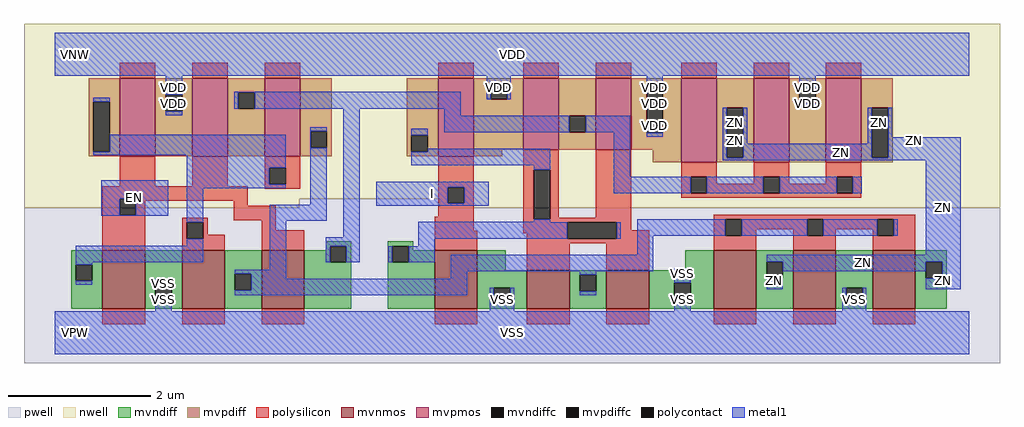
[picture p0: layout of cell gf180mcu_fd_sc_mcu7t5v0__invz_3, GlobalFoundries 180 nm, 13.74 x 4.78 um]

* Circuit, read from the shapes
.subckt gf180mcu_fd_sc_mcu7t5v0__invz_3 EN I ZN VDD VNW VPW VSS
XM1 VSS EN n1 VPW nfet_06v0 w=0.82u l=0.6u
XM2 n2 n1 VSS VPW nfet_06v0 w=0.82u l=0.6u
XM3 n3 EN n2 VPW nfet_06v0 w=0.82u l=0.6u
XM4 VSS I n4 VPW nfet_06v0 w=0.82u l=0.6u
XM5 n2 n4 VSS VPW nfet_06v0 w=0.54u l=0.6u m=2
XM6 ZN n2 VSS VPW nfet_06v0 w=0.82u l=0.6u m=3
XM7 VDD EN n1 VNW pfet_06v0 w=1.095u l=0.5u
XM8 n3 EN VDD VNW pfet_06v0 w=1.095u l=0.5u
XM9 n2 n1 n3 VNW pfet_06v0 w=1.095u l=0.5u
XM10 VDD I n4 VNW pfet_06v0 w=1.095u l=0.5u
XM11 n3 n4 VDD VNW pfet_06v0 w=1.005u l=0.5u m=2
XM12 ZN n3 VDD VNW pfet_06v0 w=1.18u l=0.5u m=3
.ends

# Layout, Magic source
magic
tech gf180mcuD
magscale 1 10
<< nwell >>
rect -86 377 2662 870
rect -86 352 689 377
rect 1084 352 2662 377
<< pwell >>
rect 689 352 1084 377
rect -86 -86 2662 352
<< mvnmos >>
rect 135 68 255 232
rect 359 68 479 232
rect 583 68 703 232
rect 1070 68 1190 232
rect 1330 68 1450 176
rect 1554 68 1674 176
rect 1856 68 1976 232
rect 2080 68 2200 232
rect 2304 68 2424 232
<< mvpmos >>
rect 184 497 284 716
rect 388 497 488 716
rect 592 497 692 716
rect 1080 497 1180 716
rect 1320 515 1420 716
rect 1524 515 1624 716
rect 1764 480 1864 716
rect 1968 480 2068 716
rect 2172 480 2272 716
<< mvndiff >>
rect 763 244 835 257
rect 763 232 776 244
rect 47 192 135 232
rect 47 146 60 192
rect 106 146 135 192
rect 47 68 135 146
rect 255 139 359 232
rect 255 93 284 139
rect 330 93 359 139
rect 255 68 359 93
rect 479 166 583 232
rect 479 120 508 166
rect 554 120 583 166
rect 479 68 583 120
rect 703 198 776 232
rect 822 198 835 244
rect 703 68 835 198
rect 938 244 1010 257
rect 938 198 951 244
rect 997 232 1010 244
rect 997 198 1070 232
rect 938 68 1070 198
rect 1190 176 1270 232
rect 1776 176 1856 232
rect 1190 127 1330 176
rect 1190 81 1237 127
rect 1283 81 1330 127
rect 1190 68 1330 81
rect 1450 163 1554 176
rect 1450 117 1479 163
rect 1525 117 1554 163
rect 1450 68 1554 117
rect 1674 141 1856 176
rect 1674 95 1745 141
rect 1791 95 1856 141
rect 1674 68 1856 95
rect 1976 200 2080 232
rect 1976 154 2005 200
rect 2051 154 2080 200
rect 1976 68 2080 154
rect 2200 127 2304 232
rect 2200 81 2229 127
rect 2275 81 2304 127
rect 2200 68 2304 81
rect 2424 200 2512 232
rect 2424 154 2453 200
rect 2499 154 2512 200
rect 2424 68 2512 154
<< mvpdiff >>
rect 96 650 184 716
rect 96 510 109 650
rect 155 510 184 650
rect 96 497 184 510
rect 284 670 388 716
rect 284 624 313 670
rect 359 624 388 670
rect 284 497 388 624
rect 488 677 592 716
rect 488 631 517 677
rect 563 631 592 677
rect 488 497 592 631
rect 692 567 780 716
rect 692 521 721 567
rect 767 521 780 567
rect 692 497 780 521
rect 992 556 1080 716
rect 992 510 1005 556
rect 1051 510 1080 556
rect 992 497 1080 510
rect 1180 703 1320 716
rect 1180 657 1228 703
rect 1274 657 1320 703
rect 1180 515 1320 657
rect 1420 611 1524 716
rect 1420 565 1449 611
rect 1495 565 1524 611
rect 1420 515 1524 565
rect 1624 703 1764 716
rect 1624 563 1667 703
rect 1713 563 1764 703
rect 1624 515 1764 563
rect 1180 497 1260 515
rect 1684 480 1764 515
rect 1864 633 1968 716
rect 1864 493 1893 633
rect 1939 493 1968 633
rect 1864 480 1968 493
rect 2068 690 2172 716
rect 2068 644 2097 690
rect 2143 644 2172 690
rect 2068 480 2172 644
rect 2272 633 2360 716
rect 2272 493 2301 633
rect 2347 493 2360 633
rect 2272 480 2360 493
<< mvndiffc >>
rect 60 146 106 192
rect 284 93 330 139
rect 508 120 554 166
rect 776 198 822 244
rect 951 198 997 244
rect 1237 81 1283 127
rect 1479 117 1525 163
rect 1745 95 1791 141
rect 2005 154 2051 200
rect 2229 81 2275 127
rect 2453 154 2499 200
<< mvpdiffc >>
rect 109 510 155 650
rect 313 624 359 670
rect 517 631 563 677
rect 721 521 767 567
rect 1005 510 1051 556
rect 1228 657 1274 703
rect 1449 565 1495 611
rect 1667 563 1713 703
rect 1893 493 1939 633
rect 2097 644 2143 690
rect 2301 493 2347 633
<< polysilicon >>
rect 184 716 284 760
rect 388 716 488 760
rect 592 716 692 760
rect 1080 716 1180 760
rect 1320 716 1420 760
rect 1524 716 1624 760
rect 1764 716 1864 760
rect 1968 716 2068 760
rect 2172 716 2272 760
rect 184 412 284 497
rect 388 412 488 497
rect 592 464 692 497
rect 592 418 605 464
rect 651 418 692 464
rect 135 377 544 412
rect 592 405 692 418
rect 1080 410 1180 497
rect 135 331 183 377
rect 229 372 544 377
rect 229 331 255 372
rect 135 232 255 331
rect 504 357 544 372
rect 1080 364 1107 410
rect 1153 364 1180 410
rect 359 311 431 324
rect 504 317 623 357
rect 1080 326 1180 364
rect 359 265 372 311
rect 418 276 431 311
rect 583 288 623 317
rect 418 265 479 276
rect 359 232 479 265
rect 583 232 703 288
rect 1070 287 1180 326
rect 1320 459 1420 515
rect 1320 319 1349 459
rect 1395 324 1420 459
rect 1524 324 1624 515
rect 1764 439 1864 480
rect 1764 393 1791 439
rect 1837 420 1864 439
rect 1968 439 2068 480
rect 1968 420 1996 439
rect 1837 393 1996 420
rect 2042 420 2068 439
rect 2172 439 2272 480
rect 2172 420 2202 439
rect 2042 393 2202 420
rect 2248 393 2272 439
rect 1764 380 2272 393
rect 1395 319 1624 324
rect 1320 311 1624 319
rect 1070 232 1190 287
rect 1320 280 1443 311
rect 1330 265 1443 280
rect 1583 288 1624 311
rect 1856 319 2424 332
rect 1583 265 1674 288
rect 1330 252 1674 265
rect 1330 176 1450 252
rect 1554 176 1674 252
rect 1856 273 1889 319
rect 1935 292 2119 319
rect 1935 273 1976 292
rect 1856 232 1976 273
rect 2080 273 2119 292
rect 2165 292 2317 319
rect 2165 273 2200 292
rect 2080 232 2200 273
rect 2304 273 2317 292
rect 2363 273 2424 319
rect 2304 232 2424 273
rect 135 24 255 68
rect 359 24 479 68
rect 583 24 703 68
rect 1070 24 1190 68
rect 1330 24 1450 68
rect 1554 24 1674 68
rect 1856 24 1976 68
rect 2080 24 2200 68
rect 2304 24 2424 68
<< polycontact >>
rect 605 418 651 464
rect 183 331 229 377
rect 1107 364 1153 410
rect 372 265 418 311
rect 1349 319 1395 459
rect 1791 393 1837 439
rect 1996 393 2042 439
rect 2202 393 2248 439
rect 1443 265 1583 311
rect 1889 273 1935 319
rect 2119 273 2165 319
rect 2317 273 2363 319
<< metal1 >>
rect 0 724 2576 844
rect 313 670 359 724
rect 1217 703 1285 724
rect 109 650 155 661
rect 506 677 1143 678
rect 506 631 517 677
rect 563 631 1143 677
rect 1217 657 1228 703
rect 1274 657 1285 703
rect 1667 703 1713 724
rect 313 613 359 624
rect 720 567 767 578
rect 155 510 651 558
rect 109 499 651 510
rect 372 464 651 499
rect 132 377 320 430
rect 132 331 183 377
rect 229 331 320 377
rect 132 330 320 331
rect 372 418 605 464
rect 372 407 651 418
rect 720 521 721 567
rect 372 311 418 407
rect 720 361 767 521
rect 372 245 418 265
rect 60 198 418 245
rect 606 315 767 361
rect 60 192 106 198
rect 606 177 652 315
rect 813 269 859 631
rect 1097 611 1143 631
rect 1005 556 1051 574
rect 1097 565 1449 611
rect 1495 565 1621 611
rect 1051 510 1395 518
rect 1005 471 1395 510
rect 1349 459 1395 471
rect 906 410 1222 425
rect 906 364 1107 410
rect 1153 364 1222 410
rect 906 358 1222 364
rect 1575 439 1621 565
rect 2097 690 2143 724
rect 2097 633 2143 644
rect 1667 552 1713 563
rect 1882 493 1893 633
rect 1939 532 1950 633
rect 2290 532 2301 633
rect 1939 493 2301 532
rect 2347 550 2358 633
rect 2347 493 2552 550
rect 1882 485 2552 493
rect 1575 393 1791 439
rect 1837 393 1996 439
rect 2042 393 2202 439
rect 2248 393 2273 439
rect 1575 392 2273 393
rect 1349 312 1395 319
rect 763 244 859 269
rect 1024 311 1395 312
rect 1024 265 1443 311
rect 1583 265 1594 311
rect 1640 273 1889 319
rect 1935 273 2119 319
rect 2165 273 2317 319
rect 2363 273 2374 319
rect 1024 244 1070 265
rect 763 198 776 244
rect 822 198 859 244
rect 940 198 951 244
rect 997 198 1070 244
rect 1640 219 1686 273
rect 2453 220 2552 485
rect 508 166 652 177
rect 60 135 106 146
rect 284 139 330 152
rect 554 152 652 166
rect 1116 173 1686 219
rect 2005 200 2552 220
rect 1116 152 1162 173
rect 554 120 1162 152
rect 1479 163 1525 173
rect 508 106 1162 120
rect 284 60 330 93
rect 1226 81 1237 127
rect 1283 81 1294 127
rect 1479 106 1525 117
rect 1745 141 1791 180
rect 1226 60 1294 81
rect 2051 173 2453 200
rect 2005 123 2051 154
rect 2499 154 2552 200
rect 1745 60 1791 95
rect 2218 81 2229 127
rect 2275 81 2286 127
rect 2453 122 2552 154
rect 2218 60 2286 81
rect 0 -60 2576 60
<< labels >>
flabel metal1 s 0 724 2576 844 0 FreeSans 400 0 0 0 VDD
port 4 nsew power bidirectional abutment
flabel metal1 s 1745 152 1791 180 0 FreeSans 400 0 0 0 VSS
port 7 nsew ground bidirectional abutment
flabel metal1 s 2290 550 2358 633 0 FreeSans 400 0 0 0 ZN
port 3 nsew default output
flabel metal1 s 132 330 320 430 0 FreeSans 400 0 0 0 EN
port 1 nsew default input
flabel metal1 s 906 358 1222 425 0 FreeSans 400 0 0 0 I
port 2 nsew default input
flabel nwell s 10 734 110 834 0 FreeSans 400 0 0 0 VNW
port 5 nsew power bidirectional
flabel pwell s 10 -50 110 50 0 FreeSans 400 0 0 0 VPW
port 6 nsew ground bidirectional
rlabel metal1 s 1882 550 1950 633 1 ZN
port 3 nsew default output
rlabel metal1 s 2290 532 2552 550 1 ZN
port 3 nsew default output
rlabel metal1 s 1882 532 1950 550 1 ZN
port 3 nsew default output
rlabel metal1 s 1882 485 2552 532 1 ZN
port 3 nsew default output
rlabel metal1 s 2453 220 2552 485 1 ZN
port 3 nsew default output
rlabel metal1 s 2005 173 2552 220 1 ZN
port 3 nsew default output
rlabel metal1 s 2453 123 2552 173 1 ZN
port 3 nsew default output
rlabel metal1 s 2005 123 2051 173 1 ZN
port 3 nsew default output
rlabel metal1 s 2453 122 2552 123 1 ZN
port 3 nsew default output
rlabel metal1 s 2097 657 2143 724 1 VDD
port 4 nsew power bidirectional abutment
rlabel metal1 s 1667 657 1713 724 1 VDD
port 4 nsew power bidirectional abutment
rlabel metal1 s 1217 657 1285 724 1 VDD
port 4 nsew power bidirectional abutment
rlabel metal1 s 313 657 359 724 1 VDD
port 4 nsew power bidirectional abutment
rlabel metal1 s 2097 633 2143 657 1 VDD
port 4 nsew power bidirectional abutment
rlabel metal1 s 1667 633 1713 657 1 VDD
port 4 nsew power bidirectional abutment
rlabel metal1 s 313 633 359 657 1 VDD
port 4 nsew power bidirectional abutment
rlabel metal1 s 1667 613 1713 633 1 VDD
port 4 nsew power bidirectional abutment
rlabel metal1 s 313 613 359 633 1 VDD
port 4 nsew power bidirectional abutment
rlabel metal1 s 1667 552 1713 613 1 VDD
port 4 nsew power bidirectional abutment
rlabel metal1 s 1745 127 1791 152 1 VSS
port 7 nsew ground bidirectional abutment
rlabel metal1 s 284 127 330 152 1 VSS
port 7 nsew ground bidirectional abutment
rlabel metal1 s 2218 60 2286 127 1 VSS
port 7 nsew ground bidirectional abutment
rlabel metal1 s 1745 60 1791 127 1 VSS
port 7 nsew ground bidirectional abutment
rlabel metal1 s 1226 60 1294 127 1 VSS
port 7 nsew ground bidirectional abutment
rlabel metal1 s 284 60 330 127 1 VSS
port 7 nsew ground bidirectional abutment
rlabel metal1 s 0 -60 2576 60 1 VSS
port 7 nsew ground bidirectional abutment
<< properties >>
string FIXED_BBOX 0 0 2576 784
string GDS_END 534198
string GDS_FILE $PDKPATH/libs.ref/gf180mcu_fd_sc_mcu7t5v0/gds/gf180mcu_fd_sc_mcu7t5v0.gds
string GDS_START 527684
string LEFclass core
string LEFsite GF018hv5v_mcu_sc7
string LEFsymmetry X Y
<< end >>
